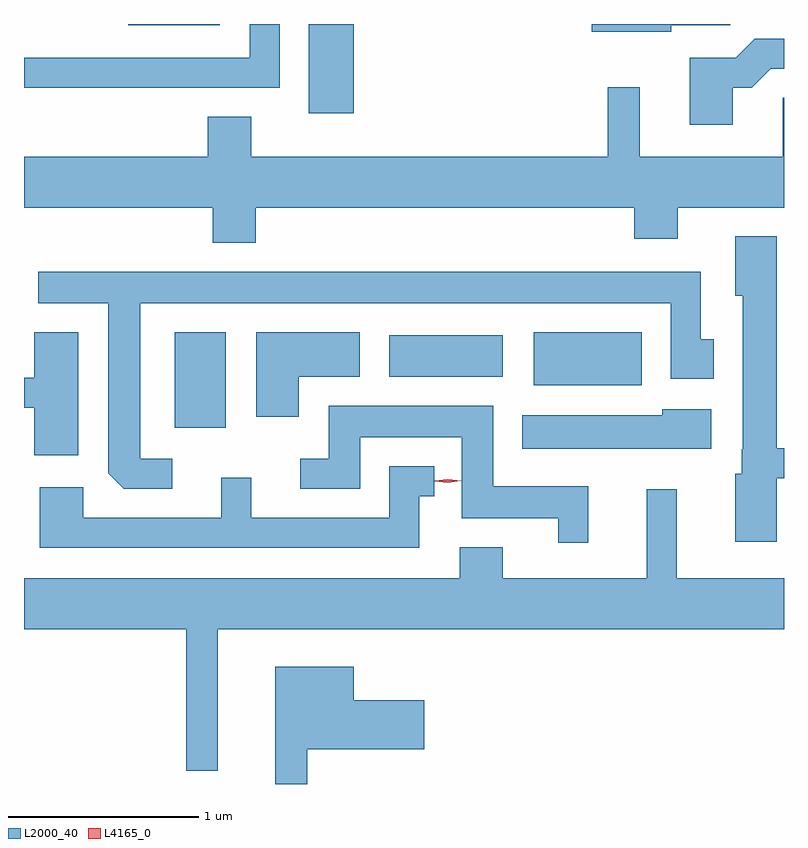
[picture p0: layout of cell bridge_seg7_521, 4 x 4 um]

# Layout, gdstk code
import gdstk
lib = gdstk.Library(unit=1e-6, precision=1e-09)
def R(c, l, rs):  # rectangles x0, y0, x1, y1
    for r in rs: c.add(gdstk.rectangle(r[:2], r[2:], *l))
def P(c, l, *ps):  # polygons
    for p in ps: c.add(gdstk.Polygon(p, *l))
L2000_40 = (2000, 40)
L4165_0 = (4165, 0)

bridge_seg7_521 = lib.new_cell('bridge_seg7_521')
R(bridge_seg7_521, L2000_40, [(902.011,1742.016,902.279,1742.519), (903.901,1742.241,904.469,1742.519), (903.141,1742.286,903.739,1742.504), (902.716,1743.671,902.954,1744.142), (901.766,1744.136,902.249,1744.142)])
P(bridge_seg7_521, L2000_40, [(902.564,1744.142),(902.406,1744.142),(902.406,1743.964),(901.218,1743.964),(901.218,1743.806),(902.564,1743.806)],
  [(904.624,1744.136),(904.934,1744.136),(904.934,1744.142),(904.206,1744.142),(904.206,1744.101),(904.624,1744.101)],
  [(904.949,1743.806),(905.047,1743.806),(905.147,1743.906),(905.218,1743.906),(905.218,1744.064),(905.064,1744.064),(904.964,1743.964),(904.721,1743.964),(904.721,1743.611),(904.949,1743.611)],
  [(902.439,1743.176),(904.431,1743.176),(904.431,1743.011),(904.659,1743.011),(904.659,1743.176),(905.218,1743.176),(905.218,1743.754),(905.211,1743.754),(905.211,1743.444),(904.459,1743.444),(904.459,1743.808),(904.291,1743.808),(904.291,1743.444),(902.414,1743.444),(902.414,1743.654),(902.186,1743.654),(902.186,1743.444),(901.218,1743.444),(901.218,1743.176),(902.211,1743.176),(902.211,1742.991),(902.439,1742.991)],
  [(905.179,1741.751),(905.218,1741.751),(905.218,1741.909),(905.179,1741.909),(905.179,1743.024),(904.961,1743.024),(904.961,1742.711),(905.001,1742.711),(905.001,1741.905),(904.996,1741.905),(904.996,1741.774),(904.961,1741.774),(904.961,1741.416),(905.179,1741.416)],
  [(901.998,1741.854),(901.829,1741.854),(901.829,1742.671),(904.621,1742.671),(904.621,1742.276),(904.849,1742.276),(904.849,1742.484),(904.779,1742.484),(904.779,1742.839),(901.293,1742.839),(901.293,1742.671),(901.661,1742.671),(901.661,1741.777),(901.742,1741.696),(901.998,1741.696)],
  [(901.504,1742.519),(901.271,1742.519),(901.271,1742.279),(901.218,1742.279),(901.218,1742.121),(901.271,1742.121),(901.271,1741.871),(901.504,1741.871)],
  [(902.664,1742.286),(902.984,1742.286),(902.984,1742.519),(902.441,1742.519),(902.441,1742.076),(902.664,1742.076)],
  [(904.189,1741.709),(903.689,1741.709),(903.689,1742.134),(902.821,1742.134),(902.821,1741.854),(902.673,1741.854),(902.673,1741.696),(902.989,1741.696),(902.989,1741.966),(903.521,1741.966),(903.521,1741.541),(904.031,1741.541),(904.031,1741.413),(904.189,1741.413)],
  [(904.834,1742.114),(904.576,1742.114),(904.576,1742.084),(903.841,1742.084),(903.841,1741.906),(904.834,1741.906)],
  [(903.299,1741.656),(903.378,1741.656),(903.378,1741.814),(903.141,1741.814),(903.141,1741.544),(902.414,1741.544),(902.414,1741.753),(902.256,1741.753),(902.256,1741.544),(901.529,1741.544),(901.529,1741.704),(901.301,1741.704),(901.301,1741.386),(903.299,1741.386)],
  [(902.239,1740.956),(905.218,1740.956),(905.218,1741.224),(904.654,1741.224),(904.654,1741.693),(904.496,1741.693),(904.496,1741.224),(903.739,1741.224),(903.739,1741.389),(903.511,1741.389),(903.511,1741.224),(901.218,1741.224),(901.218,1740.956),(902.071,1740.956),(902.071,1740.213),(902.239,1740.213)],
  [(902.709,1740.326),(903.324,1740.326),(903.324,1740.584),(902.954,1740.584),(902.954,1740.759),(902.541,1740.759),(902.541,1740.142),(902.709,1740.142)])
P(bridge_seg7_521, L4165_0, [(903.448,1741.727),(903.379,1741.736),(903.379,1741.736),(903.379,1741.737),(903.448,1741.747),(903.518,1741.738),(903.518,1741.737),(903.518,1741.737)])

lib.write_gds('bridge_seg7_521.gds')
